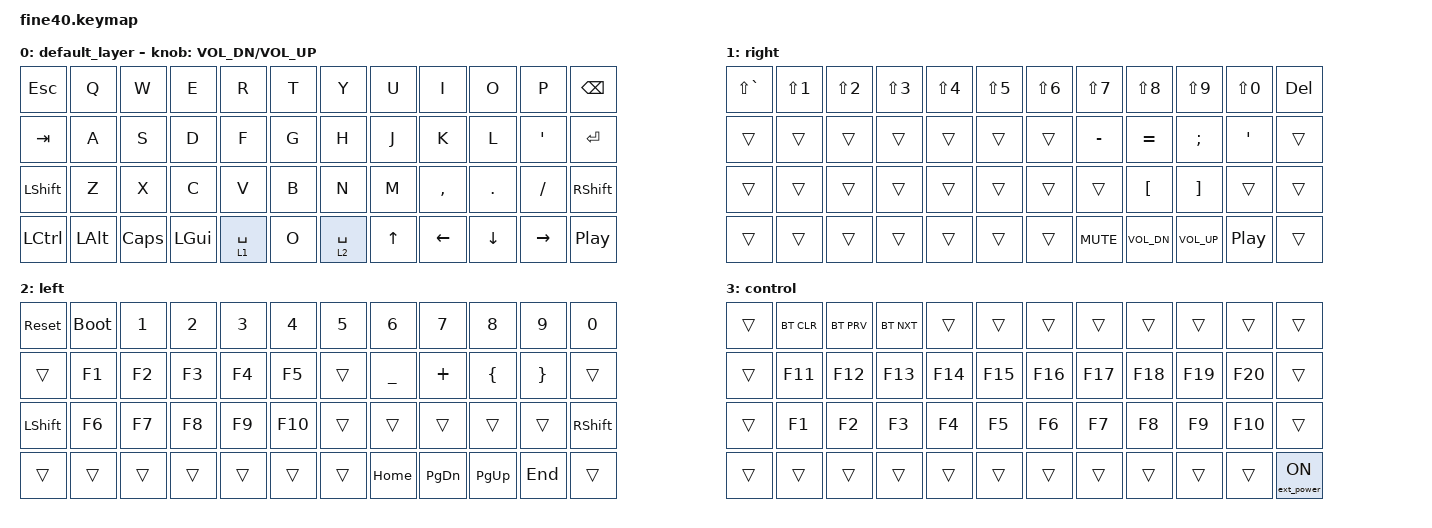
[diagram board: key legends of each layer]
/*
 * Aidan Smith (2021)
 *
 * SPDX-License-Identifier: MIT
 */

#include <behaviors.dtsi>
#include <dt-bindings/zmk/keys.h>
#include <dt-bindings/zmk/bt.h>
#include <dt-bindings/zmk/ext_power.h>

/ {
	keymap {
		compatible = "zmk,keymap";

		default_layer {
				// -----------------------------------------------------------------------------------------
				// |  ESC  |  Q   |  W   |  E   |  R   |  T   |   Y   |  U    |  I   |  O   |   P   | BSPC  |
				// |  TAB  |  A   |  S   |  D   |  F   |  G   |   H   |  J    |  K   |  L   |   '   |  RET  |
				// | SHIFT |  Z   |  X   |  C   |  V   |  B   |   N   |  M    |  ,   |  .   |   /   | SHIFT |
				// | LCTL  | LALT | LALT | LGUI | RAIS | SPC  |  LOWR | SPC   | UARW | LARW |  DARW |  RARW |

				// -----------------------------------------------------------------------------------------
				// |  ESC  |  Q   |  W   |  E   |  R   |  T   |   B   |  V    |  C   |  X   |   Z   |  LSFT |
				// |   Y   |  U   |  I   |  O   |  P   | BSPC |  ENT  |  /    |  .   |  ,   |   M   |   N   |
				// |  TAB  |  A   |  S   |  D   |  F   |  G   |  SPC  |  LOWR |  \   | LALT | LGUI  |  LCTL |
				// |   H   |  J   |  K   |  L   | SCLN | QUTE |  P/P  | RARW | UARW | DARW  |  LARW | RAISE |


			bindings = <
				&kp ESC   &kp Q    &kp W    &kp E    &kp R       &kp T     &kp Y       &kp U    &kp I     &kp O    &kp P     &kp BSPC
				&kp TAB   &kp A    &kp S    &kp D    &kp F       &kp G     &kp H       &kp J    &kp K     &kp L    &kp SQT   &kp RET
				&kp LSHFT &kp Z    &kp X    &kp C    &kp V       &kp B     &kp N       &kp M    &kp COMMA &kp DOT  &kp FSLH  &kp RSHIFT
				&kp LCTL  &kp LALT &kp CAPS &kp LGUI &lt 1 SPACE &kp O     &lt 2 SPACE &kp UP   &kp LEFT  &kp DOWN &kp RIGHT &kp C_PP
			>;

			sensor-bindings = <&inc_dec_kp C_VOL_DN C_VOL_UP>;
		};

		right {
			bindings = <
				&kp LS(GRAVE) &kp LS(N1) &kp LS(N2) &kp LS(N3) &kp LS(N4) &kp LS(N5) &kp LS(N6) &kp LS(N7) &kp LS(N8)    &kp LS(N9)   &kp LS(N0) &kp DEL
				&trans        &trans 	 &trans     &trans     &trans     &trans     &trans     &kp MINUS  &kp EQUAL     &kp SEMI     &kp SQT    &trans
				&trans        &trans     &trans     &trans     &trans     &trans     &trans     &trans     &kp LBKT      &kp RBKT     &trans     &trans
				&trans        &trans     &trans     &trans     &trans     &trans     &trans     &kp C_MUTE &kp C_VOL_DN  &kp C_VOL_UP &kp C_PP   &trans
			>;
		};

		left {
			bindings = <
				&sys_reset &bootloader &kp N1 &kp N2 &kp N3 &kp N4  &kp N5 &kp N6    &kp N7    &kp N8    &kp N9   &kp N0
				&trans     &kp F1      &kp F2 &kp F3 &kp F4 &kp F5  &trans &kp UNDER &kp PLUS  &kp LBRC  &kp RBRC &trans
				&kp LSHIFT &kp F6      &kp F7 &kp F8 &kp F9 &kp F10 &trans &trans    &trans    &trans    &trans   &kp RSHIFT
				&trans     &trans      &trans &trans &trans &trans  &trans &kp HOME  &kp PG_DN &kp PG_UP &kp END  &trans
			>;
		};

		control {
			bindings = <
				&trans &bt BT_CLR &bt BT_PRV &bt BT_NXT &trans  &trans  &trans  &trans  &trans  &trans  &trans  &trans
				&trans &kp F11 	  &kp F12    &kp F13    &kp F14 &kp F15 &kp F16 &kp F17 &kp F18 &kp F19 &kp F20 &trans
				&trans &kp F1     &kp F2     &kp F3     &kp F4  &kp F5  &kp F6  &kp F7  &kp F8  &kp F9  &kp F10 &trans
				&trans &trans     &trans     &trans     &trans  &trans  &trans  &trans  &trans  &trans  &trans  &ext_power EP_ON
			>;
		};
	};
}; 
